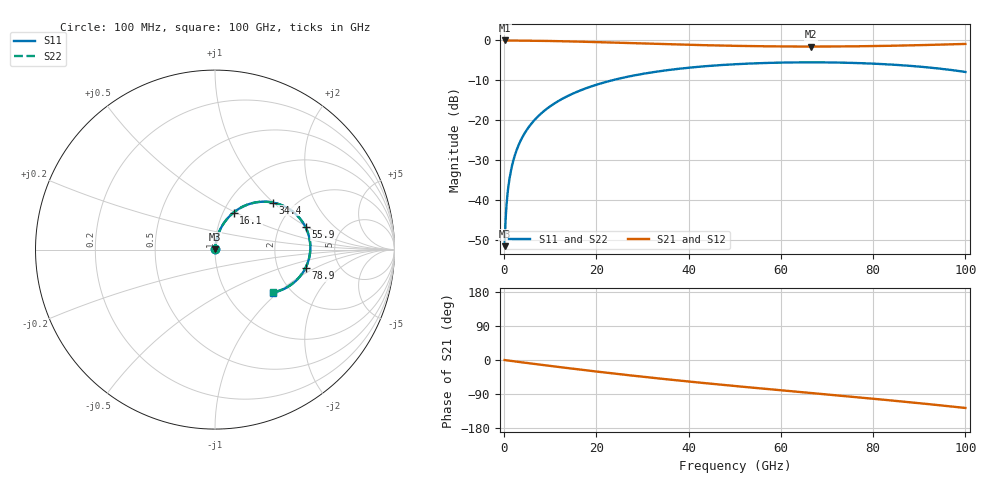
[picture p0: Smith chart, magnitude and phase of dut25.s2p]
! Touchstone file exported from HFSS 2026.1.0
!  File:  C:/ffzhzh/LocalFiles/Ansys_Project_Files/temp_train_RDL_25_1783497906_55944.aedt
!  Generated:  04:06:19 PM Jul  8, 2026
!  Design:  RDL
!  Project:  temp_train_RDL_25_1783497906_55944
! Variables:
!  h_bsmrdl = 2um
!  h_ox = 20um
!  h_rdl = 5um
!  h_sub = 80um
!  h_tmrdl = 3.58um
!  h_tsv = 80um
!  h_via = 3um
!  l_bsmrdl = 300um
!  l_sub = 826.66um
!  l_tmrdl = 426.66um
!  m_sub = 200um
!  pitch = 48.84um
!  r_tsv = 6um
!  s_tmrdl = 10um
!  w_bsmrdl = 18um
!  w_sub = 500um
!  w_tmrdl = 23.28um
!  x_tsv_center1 = 438.3um
!  x_tsv_center2 = 756.3um
!  x_tsv_center3 = 1206.24um
!  x_tsv_center4 = 1524.24um
!  x_tsv_center5 = 1974.18um
!  x_tsv_center6 = 2292.18um
# GHz S MA R 50.000000
! Terminal data exported
! Port[1] = TM_RDL1_1_T1
! Port[2] = TM_RDL1_1_T2
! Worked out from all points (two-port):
!   1000 points, 100 MHz to 100 GHz, reference 50 ohm
!   highest |S21| = -0.02 dB at 100 MHz (marker M1); lowest = -1.5 dB at 66.5 GHz (marker M2)
!   |S21| within 3 dB of the highest: start of sweep to end of sweep
!   lowest |S11| = -51.5 dB at 100 MHz (marker M3), VSWR 1.01, Z = 50.2 + j0.174 ohm
!   |S11| at or under -10 dB: start of sweep to 23.38 GHz
!   |S22| runs from -51.5 to -5.5 dB; largest |S21 - S12| = 1.7e-14
!   S11 on the Smith chart (normalised r, x): 100 MHz: 1.00, +0.00; 16.1 GHz: 1.12, +0.49; 34.4 GHz: 1.57, +1.00; 55.9 GHz: 2.80, +0.95; 78.9 GHz: 2.87, -0.80; 100 GHz: 1.63, -0.93
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0.1  0.002661 40.7  0.998 -0.2  0.998 -0.2  0.002661 40.7
! Gamma 0 0 0 0
! Port Impedance 50 0 50 0
0.4  0.007 70.1  0.9976 -0.7  0.9976 -0.7  0.006999 70.1
0.8  0.01304 77.5  0.9974 -1.3  0.9974 -1.3  0.01304 77.5
1.1  0.01763 79.7  0.9972 -1.8  0.9972 -1.8  0.01763 79.7
1.4  0.02225 80.8  0.9971 -2.2  0.9971 -2.2  0.02225 80.8
2.4  0.03768 81.6  0.9963 -3.8  0.9963 -3.8  0.03768 81.6
3.9  0.06068 80.5  0.9947 -6.2  0.9947 -6.2  0.06068 80.5
5.9  0.09074 77.9  0.9915 -9.3  0.9915 -9.3  0.09074 77.9
8.6  0.1301 74.1  0.986 -13.5  0.986 -13.5  0.1301 74.1
12  0.1775 69.2  0.9775 -18.7  0.9775 -18.7  0.1775 69.2
16.1  0.2313 63.4  0.9653 -24.8  0.9653 -24.8  0.2312 63.4
16.8  0.24 62.4  0.963 -25.8  0.963 -25.8  0.24 62.4
24.2  0.3249 52.2  0.937 -36.3  0.937 -36.3  0.3248 52.2
33.4  0.409 40.2  0.9031 -48.5  0.9031 -48.5  0.4089 40.2
34.4  0.4167 38.9  0.8996 -49.8  0.8996 -49.8  0.4166 39.0
50.1  0.5031 20.3  0.8546 -68.7  0.8546 -68.7  0.503 20.4
55.9  0.5199 13.8  0.8446 -75.3  0.8446 -75.3  0.5198 13.9
66.5  0.5316 2.2  0.8374 -87.1  0.8374 -87.1  0.5315 2.3
66.7  0.5316 2.0  0.8374 -87.3  0.8374 -87.3  0.5315 2.1
78.9  0.5147 -11.4  0.8472 -101.0  0.8472 -101.0  0.5146 -11.3
83.4  0.5001 -16.5  0.8554 -106.1  0.8554 -106.1  0.4999 -16.4
100  0.4027 -36.5  0.9027 -126.6  0.9027 -126.6  0.4025 -36.1
